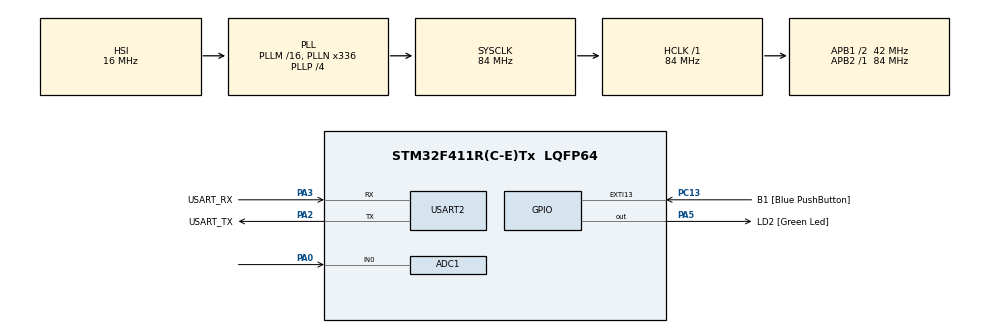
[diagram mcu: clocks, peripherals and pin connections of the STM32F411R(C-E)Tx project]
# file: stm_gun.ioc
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ADC1.Channel-0\#ChannelRegularConversion=ADC_CHANNEL_0
ADC1.NbrOfConversionFlag=1
ADC1.Rank-0\#ChannelRegularConversion=1
ADC1.Resolution=ADC_RESOLUTION_10B
ADC1.SamplingTime-0\#ChannelRegularConversion=ADC_SAMPLETIME_3CYCLES
ADC1.master=1
Mcu.Family=STM32F4
Mcu.Name=STM32F411R(C-E)Tx
Mcu.Package=LQFP64
NVIC.ADC_IRQn=true\:0\:0\:false\:false\:true\:true\:true\:true
NVIC.PriorityGroup=NVIC_PRIORITYGROUP_0
PA0-WKUP.Signal=ADCx_IN0
PA13.GPIO_Label=TMS
PA13.Mode=Serial_Wire
PA13.Signal=SYS_JTMS-SWDIO
PA14.GPIO_Label=TCK
PA14.Mode=Serial_Wire
PA14.Signal=SYS_JTCK-SWCLK
PA2.GPIO_Label=USART_TX
PA2.Mode=Asynchronous
PA2.Signal=USART2_TX
PA3.GPIO_Label=USART_RX
PA3.Mode=Asynchronous
PA3.Signal=USART2_RX
PA5.GPIO_Label=LD2 [Green Led]
PA5.Signal=GPIO_Output
PB3.GPIO_Label=SWO
PB3.Signal=SYS_JTDO-SWO
PC13-ANTI_TAMP.GPIO_Label=B1 [Blue PushButton]
PC13-ANTI_TAMP.GPIO_ModeDefaultEXTI=GPIO_MODE_IT_FALLING
PC13-ANTI_TAMP.Signal=GPXTI13
PC14-OSC32_IN.Mode=LSE-External-Oscillator
PC14-OSC32_IN.Signal=RCC_OSC32_IN
PC15-OSC32_OUT.Mode=LSE-External-Oscillator
PC15-OSC32_OUT.Signal=RCC_OSC32_OUT
PH0\ -\ OSC_IN.Mode=HSE-External-Clock-Source
PH0\ -\ OSC_IN.Signal=RCC_OSC_IN
PH1\ -\ OSC_OUT.Mode=HSE-External-Clock-Source
PH1\ -\ OSC_OUT.Signal=RCC_OSC_OUT
ProjectManager.HeapSize=0x200
ProjectManager.StackSize=0x400
ProjectManager.TargetToolchain=STM32CubeIDE
RCC.48MHZClocksFreq_Value=84000000
RCC.AHBFreq_Value=84000000
RCC.APB1CLKDivider=RCC_HCLK_DIV2
RCC.APB1Freq_Value=42000000
RCC.APB1TimFreq_Value=84000000
RCC.APB2Freq_Value=84000000
RCC.APB2TimFreq_Value=84000000
RCC.CortexFreq_Value=84000000
RCC.FLatency-AdvancedSettings=FLASH_LATENCY_2
RCC.HCLKFreq_Value=84000000
RCC.HSE_VALUE=8000000
RCC.HSI_VALUE=16000000
RCC.PLLN=336
RCC.PLLP=RCC_PLLP_DIV4
RCC.SYSCLKFreq_VALUE=84000000
RCC.SYSCLKSource=RCC_SYSCLKSOURCE_PLLCLK
RCC.VCOOutputFreq_Value=336000000
SH.ADCx_IN0.0=ADC1_IN0,IN0
USART2.VirtualMode=VM_ASYNC
board=NUCLEO-F411RE

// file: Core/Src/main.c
/* USER CODE BEGIN Header */
/**
  ******************************************************************************
  * @file           : main.c
  * @brief          : Main program body
  ******************************************************************************
  * @attention
  *
  * Copyright (c) 2024 STMicroelectronics.
  * All rights reserved.
  *
  * This software is licensed under terms that can be found in the LICENSE file
  * in the root directory of this software component.
  * If no LICENSE file comes with this software, it is provided AS-IS.
  *
  ******************************************************************************
  */
/* USER CODE END Header */
#include "main.h"
#include "string.h"
#include "stdio.h"
#include "knowledge.h"
#include "NanoEdgeAi.h"

/* USER CODE BEGIN PM */
#define DATA_INPUT_USER 256
#define AXIS_NUMBER 1
#define CONFIRMATIONS_NB (uint32_t)(6)
/* USER CODE END PM */

ADC_HandleTypeDef hadc1;

UART_HandleTypeDef huart2;

/* USER CODE BEGIN PV */
float mic;
float mic_buffer[DATA_INPUT_USER * AXIS_NUMBER] = {0};
float output_class_buffer[CLASS_NUMBER]; // Buffer of class probabilities
const char *id2class[CLASS_NUMBER + 1] = { // Buffer for mapping class id to class name
	"unknown",
	"ak47-firing",
	"gun-battle-ahead",
	"9mm-pistol-shoot",
	"shotgun-shoot",
	"machine-gun",
	"Normal_Condition",
};
/* USER CODE END PV */

void SystemClock_Config(void);
static void MX_GPIO_Init(void);
static void MX_USART2_UART_Init(void);
static void MX_ADC1_Init(void);
/* USER CODE BEGIN PFP */
void fill_mic_buffer();
void Inference();
/* USER CODE END PFP */

/* USER CODE BEGIN 0 */
void HAL_ADC_ConvCpltCallback(ADC_HandleTypeDef *hadc){
	mic = HAL_ADC_GetValue(&hadc1);
}
/* USER CODE END 0 */

int main(void)
{

  /* MCU Configuration--------------------------------------------------------*/

  /* Reset of all peripherals, Initializes the Flash interface and the Systick. */
  HAL_Init();

  /* USER CODE BEGIN Init */
  enum neai_state error_code = neai_classification_init(knowledge);
  if(error_code!=NEAI_OK)
	  {
	  printf("Knowledge initialization ERROR;");
	  printf("%d", error_code);
	  }
  else
  {
	  printf("Knowledge initialization DONE;");
  }
  /* USER CODE END Init */

  /* Configure the system clock */
  SystemClock_Config();

  /* Initialize all configured peripherals */
  MX_GPIO_Init();
  MX_USART2_UART_Init();
  MX_ADC1_Init();
  /* USER CODE BEGIN 2 */
  HAL_ADC_Start_IT(&hadc1);
  /* USER CODE END 2 */

  /* Infinite loop */
  while (1)
  {
	  Inference();
  }
}

void SystemClock_Config(void)
{
  RCC_OscInitTypeDef RCC_OscInitStruct = {0};
  RCC_ClkInitTypeDef RCC_ClkInitStruct = {0};

  /** Configure the main internal regulator output voltage
  */
  __HAL_RCC_PWR_CLK_ENABLE();
  __HAL_PWR_VOLTAGESCALING_CONFIG(PWR_REGULATOR_VOLTAGE_SCALE1);

  /** Initializes the RCC Oscillators according to the specified parameters
  * in the RCC_OscInitTypeDef structure.
  */
  RCC_OscInitStruct.OscillatorType = RCC_OSCILLATORTYPE_HSI;
  RCC_OscInitStruct.HSIState = RCC_HSI_ON;
  RCC_OscInitStruct.HSICalibrationValue = RCC_HSICALIBRATION_DEFAULT;
  RCC_OscInitStruct.PLL.PLLState = RCC_PLL_ON;
  RCC_OscInitStruct.PLL.PLLSource = RCC_PLLSOURCE_HSI;
  RCC_OscInitStruct.PLL.PLLM = 16;
  RCC_OscInitStruct.PLL.PLLN = 336;
  RCC_OscInitStruct.PLL.PLLP = RCC_PLLP_DIV4;
  RCC_OscInitStruct.PLL.PLLQ = 4;
  if (HAL_RCC_OscConfig(&RCC_OscInitStruct) != HAL_OK)
  {
    Error_Handler();
  }

  /** Initializes the CPU, AHB and APB buses clocks
  */
  RCC_ClkInitStruct.ClockType = RCC_CLOCKTYPE_HCLK|RCC_CLOCKTYPE_SYSCLK
                              |RCC_CLOCKTYPE_PCLK1|RCC_CLOCKTYPE_PCLK2;
  RCC_ClkInitStruct.SYSCLKSource = RCC_SYSCLKSOURCE_PLLCLK;
  RCC_ClkInitStruct.AHBCLKDivider = RCC_SYSCLK_DIV1;
  RCC_ClkInitStruct.APB1CLKDivider = RCC_HCLK_DIV2;
  RCC_ClkInitStruct.APB2CLKDivider = RCC_HCLK_DIV1;

  if (HAL_RCC_ClockConfig(&RCC_ClkInitStruct, FLASH_LATENCY_2) != HAL_OK)
  {
    Error_Handler();
  }
}

static void MX_ADC1_Init(void)
{

  ADC_ChannelConfTypeDef sConfig = {0};

  /** Configure the global features of the ADC (Clock, Resolution, Data Alignment and number of conversion)
  */
  hadc1.Instance = ADC1;
  hadc1.Init.ClockPrescaler = ADC_CLOCK_SYNC_PCLK_DIV4;
  hadc1.Init.Resolution = ADC_RESOLUTION_10B;
  hadc1.Init.ScanConvMode = DISABLE;
  hadc1.Init.ContinuousConvMode = DISABLE;
  hadc1.Init.DiscontinuousConvMode = DISABLE;
  hadc1.Init.ExternalTrigConvEdge = ADC_EXTERNALTRIGCONVEDGE_NONE;
  hadc1.Init.ExternalTrigConv = ADC_SOFTWARE_START;
  hadc1.Init.DataAlign = ADC_DATAALIGN_RIGHT;
  hadc1.Init.NbrOfConversion = 1;
  hadc1.Init.DMAContinuousRequests = DISABLE;
  hadc1.Init.EOCSelection = ADC_EOC_SINGLE_CONV;
  if (HAL_ADC_Init(&hadc1) != HAL_OK)
  {
    Error_Handler();
  }

  /** Configure for the selected ADC regular channel its corresponding rank in the sequencer and its sample time.
  */
  sConfig.Channel = ADC_CHANNEL_0;
  sConfig.Rank = 1;
  sConfig.SamplingTime = ADC_SAMPLETIME_3CYCLES;
  if (HAL_ADC_ConfigChannel(&hadc1, &sConfig) != HAL_OK)
  {
    Error_Handler();
  }

}

static void MX_USART2_UART_Init(void)
{

  huart2.Instance = USART2;
  huart2.Init.BaudRate = 115200;
  huart2.Init.WordLength = UART_WORDLENGTH_8B;
  huart2.Init.StopBits = UART_STOPBITS_1;
  huart2.Init.Parity = UART_PARITY_NONE;
  huart2.Init.Mode = UART_MODE_TX_RX;
  huart2.Init.HwFlowCtl = UART_HWCONTROL_NONE;
  huart2.Init.OverSampling = UART_OVERSAMPLING_16;
  if (HAL_UART_Init(&huart2) != HAL_OK)
  {
    Error_Handler();
  }

}

static void MX_GPIO_Init(void)
{
  GPIO_InitTypeDef GPIO_InitStruct = {0};

  /* GPIO Ports Clock Enable */
  __HAL_RCC_GPIOC_CLK_ENABLE();
  __HAL_RCC_GPIOH_CLK_ENABLE();
  __HAL_RCC_GPIOA_CLK_ENABLE();
  __HAL_RCC_GPIOB_CLK_ENABLE();

  /*Configure GPIO pin Output Level */
  HAL_GPIO_WritePin(LD2_GPIO_Port, LD2_Pin, GPIO_PIN_RESET);

  /*Configure GPIO pin : B1_Pin */
  GPIO_InitStruct.Pin = B1_Pin;
  GPIO_InitStruct.Mode = GPIO_MODE_IT_FALLING;
  GPIO_InitStruct.Pull = GPIO_NOPULL;
  HAL_GPIO_Init(B1_GPIO_Port, &GPIO_InitStruct);

  /*Configure GPIO pin : LD2_Pin */
  GPIO_InitStruct.Pin = LD2_Pin;
  GPIO_InitStruct.Mode = GPIO_MODE_OUTPUT_PP;
  GPIO_InitStruct.Pull = GPIO_NOPULL;
  GPIO_InitStruct.Speed = GPIO_SPEED_FREQ_LOW;
  HAL_GPIO_Init(LD2_GPIO_Port, &GPIO_InitStruct);

}

/* USER CODE BEGIN 4 */
void fill_mic_buffer(){
	for (int i=0; i< DATA_INPUT_USER; i++){
		HAL_ADC_Start_IT(&hadc1);
		mic_buffer[AXIS_NUMBER * i] = mic;
		HAL_Delay(3);
	}
}

int __io_putchar(int ch){
	HAL_UART_Transmit(&huart2, (uint8_t *)&ch, 1, HAL_MAX_DELAY);
	return ch;
}

void Inference()
{
	uint16_t i, id_class_t0, id_class_tn;
	fill_mic_buffer();
	neai_classification(mic_buffer,output_class_buffer, &id_class_t0);
	for (i=0;i<CONFIRMATIONS_NB-1;i++)
	{
		fill_mic_buffer();
		neai_classification(mic_buffer,output_class_buffer,&id_class_tn);
		if (id_class_t0 != id_class_tn) { break; }
	}
	if (id_class_t0 == id_class_tn)
	{
		printf("Detected Class:");
		printf(id2class[id_class_t0]);
		printf("\r\n");
	}
	else
	{
		printf("?");
		printf("\r\n");
	}
}
/* USER CODE END 4 */

void Error_Handler(void)
{
  __disable_irq();
  while (1)
  {
  }
}
